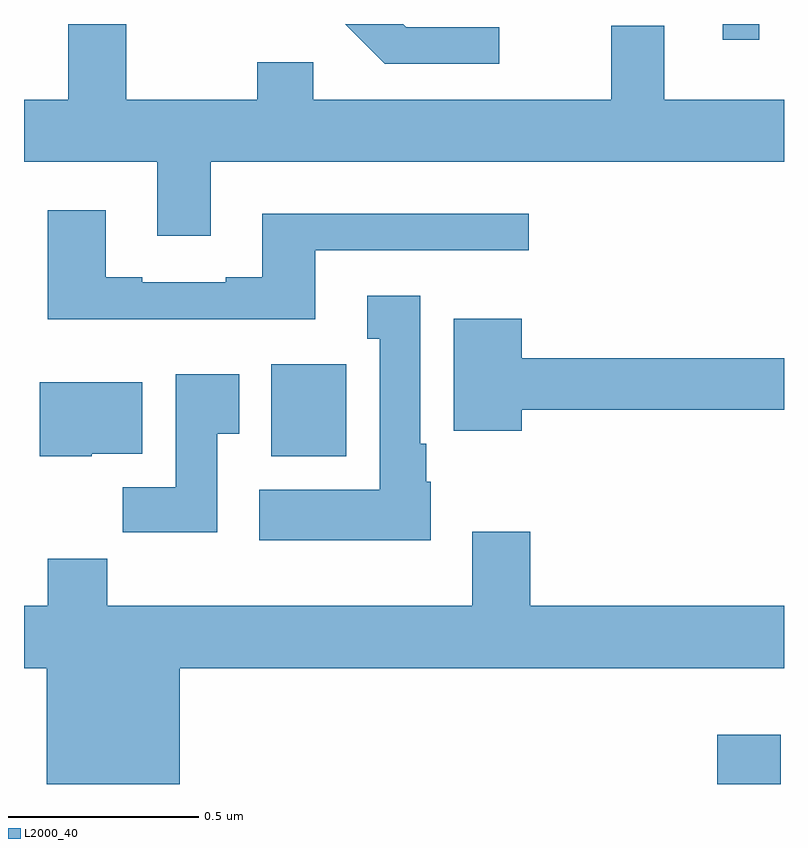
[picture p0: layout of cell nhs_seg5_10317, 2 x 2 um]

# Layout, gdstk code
import gdstk
lib = gdstk.Library(unit=1e-6, precision=1e-09)
def R(c, l, rs):  # rectangles x0, y0, x1, y1
    for r in rs: c.add(gdstk.rectangle(r[:2], r[2:], *l))
def P(c, l, *ps):  # polygons
    for p in ps: c.add(gdstk.Polygon(p, *l))
L2000_40 = (2000, 40)

nhs_seg5_10317 = lib.new_cell('nhs_seg5_10317')
R(nhs_seg5_10317, L2000_40, [(246.824,845.799,246.991,845.929), (245.651,846.662,245.848,846.904), (246.839,847.758,246.935,847.799)])
P(nhs_seg5_10317, L2000_40, [(245.491,847.436),(247,847.436),(247,847.6),(246.685,847.6),(246.685,847.795),(246.545,847.795),(246.545,847.6),(245.761,847.6),(245.761,847.699),(245.614,847.699),(245.614,847.6),(245.269,847.6),(245.269,847.799),(245.117,847.799),(245.117,847.6),(245,847.6),(245,847.436),(245.351,847.436),(245.351,847.242),(245.491,847.242)],
  [(246.25,847.791),(246.006,847.791),(245.998,847.799),(245.846,847.799),(245.949,847.695),(246.25,847.695)],
  [(245.767,847.203),(246.328,847.203),(246.328,847.3),(245.627,847.3),(245.627,847.132),(245.531,847.132),(245.531,847.119),(245.311,847.119),(245.311,847.132),(245.215,847.132),(245.215,847.309),(245.063,847.309),(245.063,847.022),(245.767,847.022)],
  [(246.07,846.594),(246.058,846.594),(246.058,846.694),(246.043,846.694),(246.043,847.084),(245.903,847.084),(245.903,846.971),(245.936,846.971),(245.936,846.574),(245.619,846.574),(245.619,846.44),(246.07,846.44)],
  [(246.31,846.784),(247,846.784),(247,846.92),(246.31,846.92),(246.31,847.024),(246.131,847.024),(246.131,846.728),(246.31,846.728)],
  [(245.509,846.721),(245.566,846.721),(245.566,846.877),(245.399,846.877),(245.399,846.58),(245.26,846.58),(245.26,846.462),(245.509,846.462)],
  [(245.178,846.668),(245.311,846.668),(245.311,846.856),(245.042,846.856),(245.042,846.662),(245.178,846.662)],
  [(245.41,846.104),(247,846.104),(247,846.268),(246.332,846.268),(246.332,846.463),(246.179,846.463),(246.179,846.268),(245.219,846.268),(245.219,846.392),(245.063,846.392),(245.063,846.268),(245,846.268),(245,846.104),(245.06,846.104),(245.06,845.799),(245.41,845.799)])

lib.write_gds('nhs_seg5_10317.gds')
